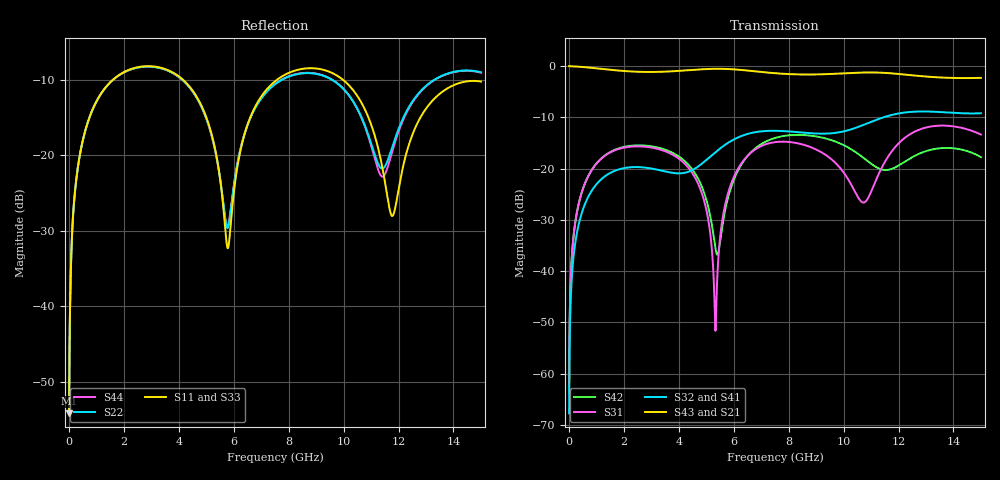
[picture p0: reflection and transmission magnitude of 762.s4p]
! Created with skrf 1.8.0 (http://scikit-rf.org).
# GHz S RI R 50.0
!freq ReS11 ImS11 ReS12 ImS12 ReS13 ImS13
! ReS14 ImS14
! ReS21 ImS21 ReS22 ImS22 ReS23 ImS23
! ReS24 ImS24
! ReS31 ImS31 ReS32 ImS32 ReS33 ImS33
! ReS34 ImS34
! ReS41 ImS41 ReS42 ImS42 ReS43 ImS43
! ReS44 ImS44
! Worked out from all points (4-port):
!   2499 points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, 5 MHz to 15 GHz, reference 50 ohm
!   strongest paths, dB at 5 MHz, 3.476 GHz, 7.19 GHz, 11.1 GHz, 15 GHz:
!     S43: 0.0, -1.1, -1.2, -1.2, -2.3
!     S21: 0.0, -1.1, -1.2, -1.2, -2.3
!     S32: -67.7, -20.5, -12.7, -10.7, -9.2
!     S41: -67.7, -20.6, -12.7, -10.7, -9.2
!     S31: -63.6, -16.6, -15.2, -23.3, -13.3
!     S42: -63.6, -16.3, -14.7, -19.4, -17.8
!   lowest |S11| = -54.2 dB at 5 MHz (marker M1), VSWR 1.00, Z = 50.2 + j0.118 ohm
!   |S11| at or under -10 dB: start of sweep to 1.591 GHz; 4.16 GHz to 7.567 GHz (3.407 GHz wide, 58.1 % of centre); 9.985 GHz to end of sweep
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0.005  0.00155 0.00117  0.9984 -0.00302  7.89e-05 0.000653  -7.65e-05 -0.000403
       0.9984 -0.00302  0.00155 0.00117  -7.65e-05 -0.000403  7.9e-05 0.000653
       7.89e-05 0.000653  -7.65e-05 -0.000403  0.00155 0.00117  0.9984 -0.00302
       -7.65e-05 -0.000403  7.9e-05 0.000653  0.9984 -0.00302  0.00155 0.00117
0.3126303  0.022 0.0776  0.97 -0.1884  0.0103 0.039  -0.00869 -0.0239
           0.97 -0.1884  0.0219 0.0776  -0.0087 -0.0239  0.0107 0.0389
           0.0103 0.039  -0.0087 -0.0239  0.022 0.0776  0.97 -0.1884
           -0.00869 -0.0239  0.0107 0.0389  0.97 -0.1884  0.0219 0.0776
1.569404  0.2565 0.1805  0.5781 -0.7115  0.1271 0.0735  -0.0919 -0.011
          0.5781 -0.7115  0.2545 0.1818  -0.0921 -0.0109  0.1329 0.0662
          0.1271 0.0735  -0.0921 -0.0109  0.2563 0.1806  0.5781 -0.7114
          -0.0919 -0.011  0.1329 0.0662  0.5781 -0.7114  0.2545 0.1817
5.333472  0.0461 -0.0972  -0.8898 -0.3061  0.00259 0.000379  -0.0436 0.1379
          -0.8898 -0.3061  0.0543 -0.0911  -0.0414 0.1386  -0.0142 -0.00877
          0.00259 0.000379  -0.0414 0.1386  0.0452 -0.0966  -0.8899 -0.3061
          -0.0436 0.1379  -0.0142 -0.00877  -0.8899 -0.3061  0.0546 -0.0902
6.271363  0.0602 0.0957  -0.8972 0.1922  0.0517 0.0991  0.0589 0.1987
          -0.8972 0.1922  0.0668 0.0931  0.0618 0.1982  0.0559 0.0933
          0.0517 0.0991  0.0618 0.1982  0.0587 0.0965  -0.8972 0.1921
          0.0589 0.1987  0.0559 0.0933  -0.8972 0.1921  0.0686 0.0938
9.060025  0.3697 -0.0661  0.0335 0.829  0.1467 -0.0355  0.205 -0.0709
          0.0335 0.829  0.3434 -0.0367  0.2055 -0.0777  0.1417 -0.1477
          0.1467 -0.0355  0.2055 -0.0777  0.369 -0.0601  0.0326 0.8291
          0.205 -0.0709  0.1417 -0.1477  0.0326 0.8291  0.3442 -0.0428
15  0.3075 -0.0235  -6.47e-05 -0.7659  0.1212 -0.1777  -0.3423 0.0459
    -6.47e-05 -0.7659  0.3485 -0.0715  -0.3414 0.0616  0.0967 -0.0861
    0.1212 -0.1777  -0.3414 0.0616  0.3017 -0.0207  0.00248 -0.7676
    -0.3423 0.0459  0.0967 -0.0861  0.00248 -0.7676  0.3464 -0.0697
